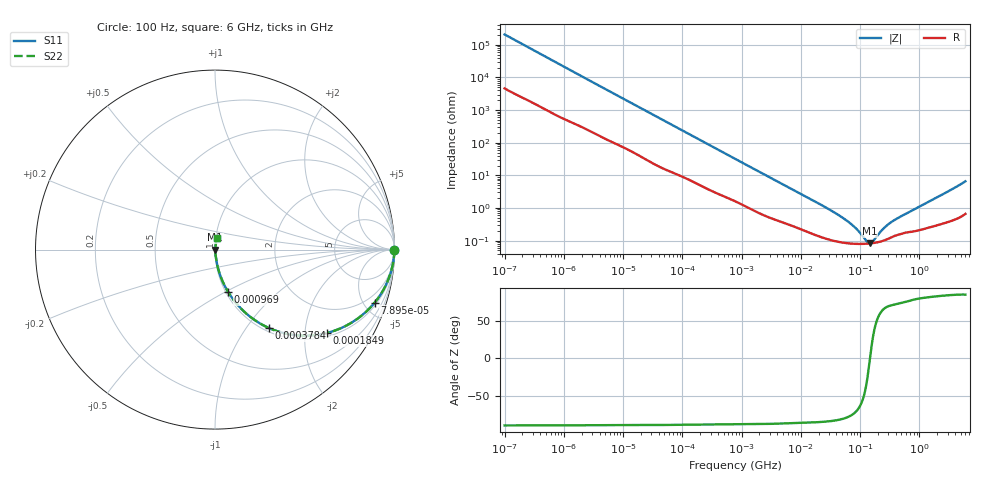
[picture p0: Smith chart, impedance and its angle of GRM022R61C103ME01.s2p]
!Murata Part Number: GRM022R61C103ME01
!These Parameters are Measured in Series Mode Connection
!Data Generated on Mar 30, 2021
!  o--ll--o
!Port1  Port2
!  o------o
!Operation Temp=25[degC], DC Bias Voltage=0[V]
!Freq. Start=100[Hz] Stop=6[GHz] 401[Steps]
# Hz S RI R 50
!Freq.(Hz) S11(Real) S11(Imag) S21(Real) S21(Imag) S12(Real) S12(Imag) S22(Real) S22(Imag)
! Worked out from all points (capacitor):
!   401 points, 100 Hz to 6 GHz, reference 50 ohm
!   read as one part in series: C = 7.61 nF near 109 Hz
!   lowest |Z| = 82 mohm at 145.9 MHz (marker M1)
!   series resonance near 147.2 MHz, so ESL is about 150 pH
!   S11 on the Smith chart (normalised r, x): 100 Hz: open; 78.95 kHz: 1.22, -5.93; 184.9 kHz: 1.11, -2.59; 378.4 kHz: 1.06, -1.29; 969 kHz: 1.03, -0.52; 6 GHz: 1.01, +0.13
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100  1 -0.00048  1.09e-05 0.00048  1.09e-05 0.00048  1 -0.00048
2008  0.9997 -0.00921  0.000343 0.00921  0.000343 0.00921  0.9997 -0.00921
12592  0.9951 -0.0554  0.00492 0.0554  0.00492 0.0554  0.9951 -0.0554
40335  0.9653 -0.1674  0.0347 0.1674  0.0347 0.1674  0.9653 -0.1674
78952  0.8892 -0.296  0.1108 0.296  0.1108 0.296  0.8892 -0.296
118133  0.7912 -0.3871  0.2088 0.3871  0.2088 0.3871  0.7912 -0.3871
184852  0.6219 -0.4648  0.3781 0.4648  0.3781 0.4648  0.6219 -0.4648
264476  0.4568 -0.4775  0.5432 0.4775  0.5432 0.4775  0.4568 -0.4775
378399  0.3013 -0.4373  0.6987 0.4373  0.6987 0.4373  0.3013 -0.4373
774597  0.1053 -0.2828  0.8947 0.2828  0.8947 0.2828  0.1053 -0.2828
968953  0.0736 -0.2366  0.9264 0.2366  0.9264 0.2366  0.0736 -0.2366
3103719  0.0117 -0.0822  0.9883 0.0822  0.9883 0.0822  0.0117 -0.0822
1.555665e7  0.00192 -0.0175  0.9981 0.0175  0.9981 0.0175  0.00192 -0.0175
5.960426e7  0.000851 -0.00401  0.9991 0.00401  0.9991 0.00401  0.000851 -0.00401
8.918374e7  0.000798 -0.00204  0.9992 0.00204  0.9992 0.00204  0.000798 -0.00204
1.334425e8  0.000807 -0.000382  0.9992 0.000382  0.9992 0.000382  0.000807 -0.000382
1.459435e8  0.000818 -3.26e-05  0.9992 3.26e-05  0.9992 3.26e-05  0.000818 -3.26e-05
1.669249e8  0.000843 0.000492  0.9992 -0.000492  0.9992 -0.000492  0.000843 0.000492
2.283698e8  0.000951 0.00176  0.999 -0.00176  0.999 -0.00176  0.000951 0.00176
3.124326e8  0.00119 0.00314  0.9988 -0.00314  0.9988 -0.00314  0.00119 0.00314
4.888888e8  0.00163 0.00529  0.9984 -0.00529  0.9984 -0.00529  0.00163 0.00529
6e9  0.0108 0.0644  0.9892 -0.0644  0.9892 -0.0644  0.0108 0.0644
